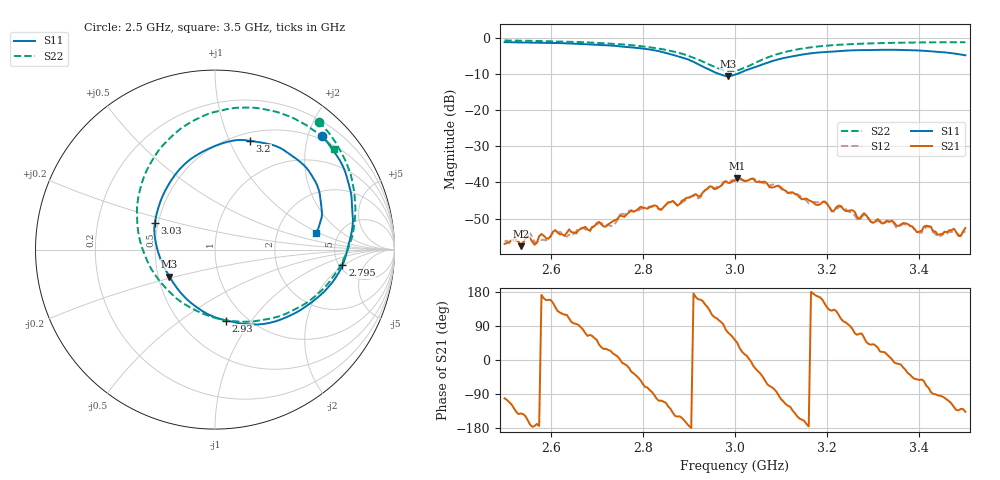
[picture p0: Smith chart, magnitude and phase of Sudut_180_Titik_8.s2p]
# Hz S RI R 50
! CMT, C1220, 16058040, 17.2.0/1
! Date: 15/08/2018 09:56:27
! Data: Format (Calibration Info)
! Freq  S11: Re/Im (F2)  S21: Re/Im (F2)  S12: Re/Im (F2)  S22: Re/Im (F2)
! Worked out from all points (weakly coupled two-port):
!   201 points, 2.5 GHz to 3.5 GHz, reference 50 ohm
!   highest |S21| = -38.75 dB at 3.005 GHz (marker M1); lowest = -57.6 dB at 2.535 GHz (marker M2)
!   lowest |S11| = -10.6 dB at 2.985 GHz (marker M3), VSWR 1.84, Z = 28.6 - j9.4 ohm
!   |S11| at or under -10 dB: 2.965 GHz to 3.004 GHz (38.89 MHz wide, 1.3 % of centre)
!   |S22| runs from -9.2 to -0.7 dB; largest |S21 - S12| = 0.0009
!   S11 on the Smith chart (normalised r, x): 2.5 GHz: 0.43, +2.25; 2.795 GHz: 5.34, -1.90; 2.93 GHz: 0.81, -0.76; 3.03 GHz: 0.48, +0.17; 3.2 GHz: 0.59, +1.19; 3.5 GHz: 3.40, +0.93
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2.5e9  0.5981 0.6316  -0.000276 -0.00139  -0.000319 -0.00152  0.5776 0.7134
2.535e9  0.6392 0.5792  -0.00103 -0.000826  -0.00114 -0.000848  0.6163 0.6709
2.555e9  0.6576 0.552  -0.00168 -0.0003  -0.00195 -0.00044  0.6386 0.6453
2.57e9  0.6756 0.528  -0.00144 -0.000294  -0.00148 2.45e-05  0.6546 0.6225
2.67e9  0.7575 0.3158  0.000383 0.00233  0.000569 0.00228  0.7488 0.4394
2.735e9  0.7664 0.1298  0.00277 0.000869  0.00241 0.000756  0.7797 0.2725
2.795e9  0.7104 -0.0868  0.00274 -0.00371  0.00253 -0.00352  0.7641 0.0731
2.835e9  0.6085 -0.2339  -0.00132 -0.00412  -0.00125 -0.00403  0.7034 -0.08
2.93e9  0.0628 -0.3952  -0.00663 0.003  -0.00661 0.00258  0.2552 -0.3938
2.985e9  -0.254 -0.1499  0.00303 0.00936  0.00269 0.00968  -0.1773 -0.2993
3e9  -0.3055 -0.0481  0.0065 0.00847  0.00688 0.00818  -0.2777 -0.2105
3.005e9  -0.3171 -0.0137  0.00816 0.00817  0.00806 0.00762  -0.3074 -0.1768
3.03e9  -0.3347 0.1505  0.0108 0.000715  0.0108 0.000699  -0.4069 0.0125
3.1e9  -0.1522 0.4911  -0.00196 -0.00827  -0.00223 -0.00782  -0.3414 0.5108
3.17e9  0.1014 0.6073  -0.00527 0.0005  -0.00535 9.71e-05  -0.0713 0.7415
3.2e9  0.1952 0.606  -0.00378 0.00335  -0.00367 0.00357  0.0406 0.7765
3.27e9  0.3828 0.5548  0.00111 0.00293  0.00101 0.0028  0.261 0.7845
3.335e9  0.5095 0.4555  0.00281 0.000431  0.00292 0.000295  0.4145 0.7416
3.4e9  0.5771 0.3345  0.00126 -0.00168  0.00112 -0.0017  0.5312 0.6773
3.425e9  0.5884 0.2731  0.000235 -0.00244  0.000197 -0.00242  0.5699 0.65
3.44e9  0.5934 0.2342  -0.00011 -0.00189  -8.88e-05 -0.00178  0.5913 0.6317
3.5e9  0.5646 0.0924  -0.00171 -0.00161  -0.00166 -0.00132  0.6634 0.559
